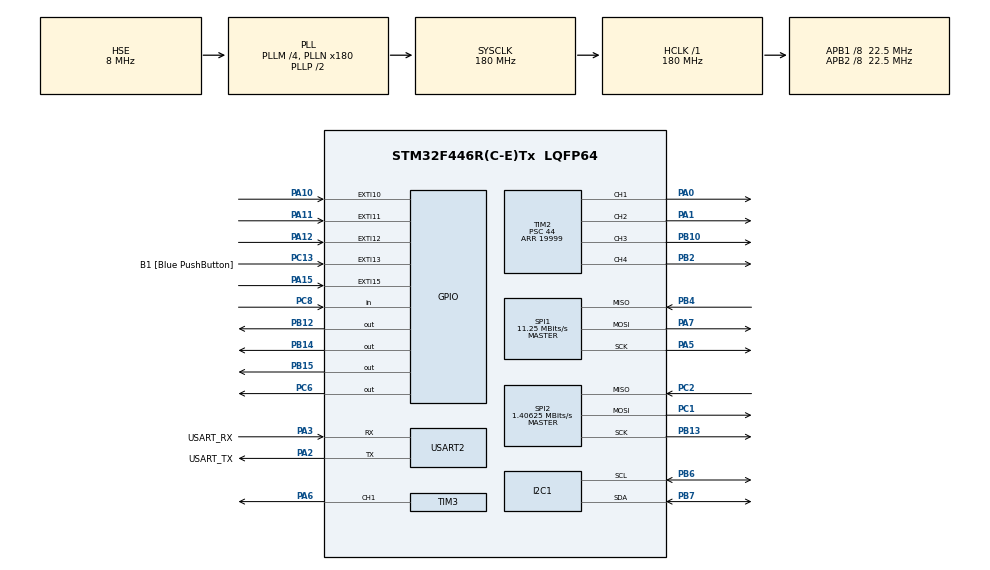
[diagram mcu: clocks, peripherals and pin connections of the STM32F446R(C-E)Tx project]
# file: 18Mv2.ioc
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I2C1.I2C_Mode=I2C_Fast
Mcu.Family=STM32F4
Mcu.Name=STM32F446R(C-E)Tx
Mcu.Package=LQFP64
NVIC.EXTI15_10_IRQn=true\:0\:0\:false\:false\:true\:true\:true\:true
NVIC.PriorityGroup=NVIC_PRIORITYGROUP_0
NVIC.SPI1_IRQn=true\:0\:0\:false\:false\:true\:true\:true\:true
NVIC.TIM2_IRQn=true\:0\:0\:false\:false\:true\:true\:true\:true
NVIC.TIM3_IRQn=true\:0\:0\:false\:false\:true\:true\:true\:true
PA0-WKUP.Signal=S_TIM2_CH1_ETR
PA1.Signal=S_TIM2_CH2
PA10.GPIO_ModeDefaultEXTI=GPIO_MODE_IT_FALLING
PA10.Signal=GPXTI10
PA11.GPIO_ModeDefaultEXTI=GPIO_MODE_IT_FALLING
PA11.Signal=GPXTI11
PA12.GPIO_ModeDefaultEXTI=GPIO_MODE_IT_FALLING
PA12.Signal=GPXTI12
PA13.GPIO_Label=TMS
PA13.Mode=Serial_Wire
PA13.Signal=SYS_JTMS-SWDIO
PA14.GPIO_Label=TCK
PA14.Mode=Serial_Wire
PA14.Signal=SYS_JTCK-SWCLK
PA15.GPIO_ModeDefaultEXTI=GPIO_MODE_IT_FALLING
PA15.Signal=GPXTI15
PA2.GPIO_Label=USART_TX
PA2.Mode=Asynchronous
PA2.Signal=USART2_TX
PA3.GPIO_Label=USART_RX
PA3.Mode=Asynchronous
PA3.Signal=USART2_RX
PA5.Mode=Full_Duplex_Master
PA5.Signal=SPI1_SCK
PA6.Signal=S_TIM3_CH1
PA7.Mode=Full_Duplex_Master
PA7.Signal=SPI1_MOSI
PB10.Signal=S_TIM2_CH3
PB12.Signal=GPIO_Output
PB13.Mode=Full_Duplex_Master
PB13.Signal=SPI2_SCK
PB14.Signal=GPIO_Output
PB15.Signal=GPIO_Output
PB2.Signal=S_TIM2_CH4
PB3.GPIO_Label=SWO
PB3.Signal=SYS_JTDO-SWO
PB4.Mode=Full_Duplex_Master
PB4.Signal=SPI1_MISO
PB6.Mode=I2C
PB6.Signal=I2C1_SCL
PB7.Mode=I2C
PB7.Signal=I2C1_SDA
PC1.Mode=Full_Duplex_Master
PC1.Signal=SPI2_MOSI
PC13.GPIO_Label=B1 [Blue PushButton]
PC13.GPIO_ModeDefaultEXTI=GPIO_MODE_IT_FALLING
PC13.Signal=GPXTI13
PC14-OSC32_IN.Mode=LSE-External-Oscillator
PC14-OSC32_IN.Signal=RCC_OSC32_IN
PC15-OSC32_OUT.Mode=LSE-External-Oscillator
PC15-OSC32_OUT.Signal=RCC_OSC32_OUT
PC2.Mode=Full_Duplex_Master
PC2.Signal=SPI2_MISO
PC6.Signal=GPIO_Output
PC8.Signal=GPIO_Input
PH0-OSC_IN.Mode=HSE-External-Oscillator
PH0-OSC_IN.Signal=RCC_OSC_IN
PH1-OSC_OUT.Mode=HSE-External-Oscillator
PH1-OSC_OUT.Signal=RCC_OSC_OUT
ProjectManager.HeapSize=0x200
ProjectManager.StackSize=0x400
ProjectManager.TargetToolchain=STM32CubeIDE
RCC.48MHZClocksFreq_Value=84000000
RCC.AHBFreq_Value=180000000
RCC.APB1CLKDivider=RCC_HCLK_DIV8
RCC.APB1Freq_Value=22500000
RCC.APB1TimFreq_Value=45000000
RCC.APB2CLKDivider=RCC_HCLK_DIV8
RCC.APB2Freq_Value=22500000
RCC.APB2TimFreq_Value=45000000
RCC.CortexFreq_Value=180000000
RCC.FLatency-AdvancedSettings=FLASH_LATENCY_5
RCC.HCLKFreq_Value=180000000
RCC.HSE_VALUE=8000000
RCC.HSI_VALUE=16000000
RCC.PLLM=4
RCC.PLLN=180
RCC.PLLSourceVirtual=RCC_PLLSOURCE_HSE
RCC.SYSCLKFreq_VALUE=180000000
RCC.SYSCLKSource=RCC_SYSCLKSOURCE_PLLCLK
RCC.USBFreq_Value=180000000
RCC.VCOOutputFreq_Value=360000000
SH.S_TIM2_CH1_ETR.0=TIM2_CH1,PWM Generation1 CH1
SH.S_TIM2_CH2.0=TIM2_CH2,PWM Generation2 CH2
SH.S_TIM2_CH3.0=TIM2_CH3,PWM Generation3 CH3
SH.S_TIM2_CH4.0=TIM2_CH4,PWM Generation4 CH4
SH.S_TIM3_CH1.0=TIM3_CH1,PWM Generation1 CH1
SPI1.BaudRatePrescaler=SPI_BAUDRATEPRESCALER_2
SPI1.CalculateBaudRate=11.25 MBits/s
SPI1.Direction=SPI_DIRECTION_2LINES
SPI1.Mode=SPI_MODE_MASTER
SPI1.VirtualType=VM_MASTER
SPI2.BaudRatePrescaler=SPI_BAUDRATEPRESCALER_16
SPI2.CalculateBaudRate=1.40625 MBits/s
SPI2.Direction=SPI_DIRECTION_2LINES
SPI2.Mode=SPI_MODE_MASTER
SPI2.VirtualType=VM_MASTER
TIM2.Channel-PWM\ Generation1\ CH1=TIM_CHANNEL_1
TIM2.Channel-PWM\ Generation2\ CH2=TIM_CHANNEL_2
TIM2.Channel-PWM\ Generation3\ CH3=TIM_CHANNEL_3
TIM2.Channel-PWM\ Generation4\ CH4=TIM_CHANNEL_4
TIM2.Period=19999
TIM2.Prescaler=44
TIM3.Channel-PWM\ Generation1\ CH1=TIM_CHANNEL_1
TIM3.Period=19999
TIM3.Prescaler=44
USART2.VirtualMode=VM_ASYNC
VP_TIM2_VS_ClockSourceINT.Mode=Internal
VP_TIM3_VS_ClockSourceINT.Mode=Internal
board=NUCLEO-F446RE

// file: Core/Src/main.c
/* USER CODE BEGIN Header */
/**
  ******************************************************************************
  * @file           : main.c
  * @brief          : Main program body
  ******************************************************************************
  * @attention
  *
  * Copyright (c) 2026 STMicroelectronics.
  * All rights reserved.
  *
  * This software is licensed under terms that can be found in the LICENSE file
  * in the root directory of this software component.
  * If no LICENSE file comes with this software, it is provided AS-IS.
  *
  ******************************************************************************
  */

  /*
   * PIN ASSIGNMENTS:
   *
   * I2C for RFID Scanner:
   * VCC - 5V
   * GND - Breadboard ground
   * SCL - PB6
   * SDA - PB7
   *
   * SPI for LCD Display:
   * VCC      - 3.3V
   * GND      - Breadboard ground
   * CS       - PB15
   * RESET    - PB14
   * DATA/CMD - PB12
   * SDI/MOSI - PA7
   * SCK      - PA5
   * LED      - 3.3V
   * SDO/MISO - NC
   *
   * OUT OF DATE:
   * *****************
   * T_CLK    - PA5
   * T_CS     - PC6 this one is fine
   * T_DIN    - PA7
   * T_DO     - PB4
   * T_IRQ    - PC8 this one is fine
   * *****************
   *
   * Servos:
   * VCC  - 5V
   * GND  - Breaboard Ground
   * PWM1 - PA0
   * PWM2 - PA1
   * PWM3 - PB10
   * PWM4 - PB2
   * PWM5 - PA6
   *
   * IR Sensors:
   * VCC  - 3.3V
   * GND  - Breadboard Ground
   * IQR1 - PA10
   * IQR1 - PA11
   * IQR1 - PA12
   * IQR1 - PA15
   *
   */
/* USER CODE END Header */
#include "main.h"

/* USER CODE BEGIN Includes */
#include "servo.h"
#include "flash.h"
#include "irsensor.h"
#include <string.h>
#include "stm32f4xx_hal.h"
#include "claude_lcd.h"
#include "claude_touch.h"
#include "rfid.h"
/* USER CODE END Includes */

I2C_HandleTypeDef hi2c1;

SPI_HandleTypeDef hspi1;
SPI_HandleTypeDef hspi2;

TIM_HandleTypeDef htim2;
TIM_HandleTypeDef htim3;

UART_HandleTypeDef huart2;

/* USER CODE BEGIN PV */

servo_t pennyServo;
servo_t nickelServo;
servo_t dimeServo;
servo_t quarterServo;
servo_t slotServo;

pn532_t nfc;
pn532_tag_info_t tag;

enum {SPLASH, USE, THANKYOU} state;

uint32_t currentUser;
uint32_t currentMoney;

char buf[32];

TouchPoint tp;

volatile uint8_t penny_detected = 0;
volatile uint8_t nickel_detected = 0;
volatile uint8_t dime_detected = 0;
volatile uint8_t quarter_detected = 0;

/* USER CODE END PV */

void SystemClock_Config(void);
static void MX_GPIO_Init(void);
static void MX_USART2_UART_Init(void);
static void MX_TIM2_Init(void);
static void MX_TIM3_Init(void);
static void MX_I2C1_Init(void);
static void MX_SPI1_Init(void);
static void MX_SPI2_Init(void);

/* USER CODE BEGIN 0 */

void HAL_GPIO_EXTI_Callback(uint16_t GPIO_Pin)
{
  if(GPIO_Pin == GPIO_PIN_12)
  {
    penny_detected = 1;
  }
  else if(GPIO_Pin == GPIO_PIN_10)
  {
    nickel_detected = 1;
  }
  else if(GPIO_Pin == GPIO_PIN_15)
  {
    dime_detected = 1;
  }
  else if(GPIO_Pin == GPIO_PIN_11)
  {
    quarter_detected = 1;
  }
}

void Splash_Screen(void)
{
  ST7796S_FillScreen(WHITE);

  ST7796S_DrawString(30, 40, "Welcome to 18M!", &Font24, BLACK, WHITE);

  ST7796S_DrawString(20, 100, "Please scan your", &Font24, BLACK, WHITE);
  ST7796S_DrawString(20, 122, "andrewID card to", &Font24, BLACK, WHITE);
  ST7796S_DrawString(30, 144, "     begin", &Font24, BLACK, WHITE);
  //HAL_UART_Transmit(&huart2, (uint8_t *)buf, strlen((char *)buf), HAL_MAX_DELAY);
  while (1) {
    if (pn532_read_passive_target(&nfc, &tag, 500) == PN532_OK) {

  	  break;
    }
  }

  currentUser = tag.uid[0];
  currentUser = currentUser<<8;
  currentUser = currentUser|tag.uid[1];
  currentUser = currentUser<<8;
  currentUser = currentUser|tag.uid[2];
  currentUser = currentUser<<8;
  currentUser = currentUser|tag.uid[3];

  sprintf(buf, "%x\r\n", get_money_in_account(currentUser));
  HAL_UART_Transmit(&huart2, (uint8_t *)buf, strlen((char *)buf), HAL_MAX_DELAY);

  if(get_money_in_account(currentUser) == 0xFFFFFFFF) {
	strcpy((char *)buf, "New user");
	HAL_UART_Transmit(&huart2, (uint8_t *)buf, strlen((char *)buf), HAL_MAX_DELAY);

	add_account(currentUser);
  }

  HAL_Delay(50);

  currentMoney = get_money_in_account(currentUser);

  const uint16_t LBLUE = RGB565(0xDF, 0xDF, 0xFF);

  ST7796S_FillScreen(LBLUE);
  ST7796S_DrawString(90, 20, "Welcome!", &Font24, BLACK, LBLUE);
  if(currentMoney%100 < 10) sprintf(buf, "$%d.0%d", currentMoney/100, currentMoney%100);
  else sprintf(buf, "$%d.%d", currentMoney/100, currentMoney%100);
  ST7796S_DrawString(110, 48, buf, &Font24, BLUE, LBLUE);
  ST7796S_DrawString(0, 76, "To deposit, slide\ncoins through the\nslot.\nTo withdraw, press\na button below.", &Font24, BLACK, LBLUE);

  ST7796S_FillRect(20, 228, 130, 50, BLUE);
  ST7796S_DrawString(40, 241, "Penny", &Font24, BLACK, BLUE);
  ST7796S_FillRect(170, 228, 130, 50, BLUE);
  ST7796S_DrawString(180, 241, "Nickel", &Font24, BLACK, BLUE);
  ST7796S_FillRect(20, 298, 130, 50, BLUE);
  ST7796S_DrawString(50, 311, "Dime", &Font24, BLACK, BLUE);
  ST7796S_FillRect(170, 298, 130, 50, BLUE);
  ST7796S_DrawString(175, 311, "Quarter", &Font24, BLACK, BLUE);

  ST7796S_FillRect(20, 410, 130, 50, BLUE);
  ST7796S_DrawString(30, 423, "< Exit", &Font24, BLACK, BLUE);

  state = USE;
}

void Use_Screen()
{
  const uint16_t LBLUE = RGB565(0xDF, 0xDF, 0xFF);

  if(penny_detected)
  {
	currentMoney++;
	if(currentMoney%100 < 10) sprintf(buf, "$%d.0%d", currentMoney/100, currentMoney%100);
	else sprintf(buf, "$%d.%d", currentMoney/100, currentMoney%100);
	ST7796S_DrawString(110, 48, buf, &Font24, BLUE, LBLUE);
	HAL_Delay(200);
    penny_detected = 0;
  }
  if(nickel_detected)
  {
	currentMoney+=5;
	if(currentMoney%100 < 10) sprintf(buf, "$%d.0%d", currentMoney/100, currentMoney%100);
	else sprintf(buf, "$%d.%d", currentMoney/100, currentMoney%100);
	ST7796S_DrawString(110, 48, buf, &Font24, BLUE, LBLUE);
	HAL_Delay(200);
    nickel_detected = 0;
  }
  if(dime_detected)
  {
	currentMoney+=10;
	if(currentMoney%100 < 10) sprintf(buf, "$%d.0%d", currentMoney/100, currentMoney%100);
	else sprintf(buf, "$%d.%d", currentMoney/100, currentMoney%100);
	ST7796S_DrawString(110, 48, buf, &Font24, BLUE, LBLUE);
	HAL_Delay(200);
    dime_detected = 0;
  }
  if(quarter_detected)
  {
	currentMoney+=25;
	if(currentMoney%100 < 10) sprintf(buf, "$%d.0%d", currentMoney/100, currentMoney%100);
	else sprintf(buf, "$%d.%d", currentMoney/100, currentMoney%100);
	ST7796S_DrawString(110, 48, buf, &Font24, BLUE, LBLUE);
	HAL_Delay(200);
    quarter_detected = 0;
  }

  tp = XPT2046_GetTouchAvg();

  if(tp.touched) {
	uint16_t screen_x, screen_y;
	XPT2046_GetScreenCoordinates(&tp, &screen_x, &screen_y);

	// Draw a small circle where touched
	ST7796S_FillRect(screen_x - 2, screen_y - 2, 5, 5, BLACK);

	// Display coordinates
//	sprintf(buf, "X:%d Y:%d\r\n", screen_x, screen_y);
//	HAL_UART_Transmit(&huart2, (uint8_t *)buf, strlen((char *)buf), HAL_MAX_DELAY);

	// penny button
	if(20 <= screen_x && screen_x <= 150 && 228 <= screen_y && screen_y <= 278)
	{
	  if(currentMoney >= 1)
	  {
		currentMoney -= 1;
		if(currentMoney%100 < 10) sprintf(buf, "$%d.0%d", currentMoney/100, currentMoney%100);
		else sprintf(buf, "$%d.%d", currentMoney/100, currentMoney%100);
		ST7796S_DrawString(110, 48, buf, &Font24, BLUE, LBLUE);
		servo_angle(pennyServo, 35);
		HAL_Delay(500);
		servo_angle(pennyServo, 170);
	  }
	}
	// nickel button
	if(170 <= screen_x && screen_x <= 300 && 228 <= screen_y && screen_y <= 278)
	{
	  if(currentMoney >= 5)
	  {
		currentMoney -= 5;
		if(currentMoney%100 < 10) sprintf(buf, "$%d.0%d", currentMoney/100, currentMoney%100);
		else sprintf(buf, "$%d.%d", currentMoney/100, currentMoney%100);
		ST7796S_DrawString(110, 48, buf, &Font24, BLUE, LBLUE);
		servo_angle(nickelServo, 35);
		HAL_Delay(500);
		servo_angle(nickelServo, 170);
	  }
	}
	// dime button
	if(20 <= screen_x && screen_x <= 150 && 298 <= screen_y && screen_y <= 368)
	{
	  if(currentMoney >= 10)
	  {
		currentMoney -= 10;
		if(currentMoney%100 < 10) sprintf(buf, "$%d.0%d", currentMoney/100, currentMoney%100);
		else sprintf(buf, "$%d.%d", currentMoney/100, currentMoney%100);
		ST7796S_DrawString(110, 48, buf, &Font24, BLUE, LBLUE);
		servo_angle(dimeServo, 35);
		HAL_Delay(500);
		servo_angle(dimeServo, 170);
	  }
	}
	// quarter button
	if(170 <= screen_x && screen_x <= 300 && 298 <= screen_y && screen_y <= 368)
	{
	  if(currentMoney >= 25)
	  {
        currentMoney -= 25;
        if(currentMoney%100 < 10) sprintf(buf, "$%d.0%d", currentMoney/100, currentMoney%100);
    	else sprintf(buf, "$%d.%d", currentMoney/100, currentMoney%100);
    	ST7796S_DrawString(110, 48, buf, &Font24, BLUE, LBLUE);
		servo_angle(quarterServo, 30);
		HAL_Delay(500);
		servo_angle(quarterServo, 170);
	  }
	}

	// exit button
	if(20 <= screen_x && screen_x <= 150 && 410 <= screen_y && screen_y <= 460)
	{
	  set_money_in_account(currentUser, currentMoney);
	  state = THANKYOU;
	}
  }

  HAL_Delay(50);
}

void Thankyou_Screen(void)
{
  ST7796S_FillScreen(WHITE);
  ST7796S_DrawString(40, 150, "Thank you for\n using 18M!", &Font24, BLACK, WHITE);

  HAL_Delay(3000);
  state = SPLASH;
}

/* USER CODE END 0 */

int main(void)
{

  /* MCU Configuration--------------------------------------------------------*/

  /* Reset of all peripherals, Initializes the Flash interface and the Systick. */
  HAL_Init();

  /* Configure the system clock */
  SystemClock_Config();

  /* Initialize all configured peripherals */
  MX_GPIO_Init();
  MX_USART2_UART_Init();
  MX_TIM2_Init();
  MX_TIM3_Init();
  MX_I2C1_Init();
  MX_SPI1_Init();
  MX_SPI2_Init();
  /* USER CODE BEGIN 2 */

/*********************************************
 ********* SERVO INITIALIZATION **************
 *********************************************/

  HAL_TIM_PWM_Start(&htim2, TIM_CHANNEL_1);
  HAL_TIM_PWM_Start(&htim2, TIM_CHANNEL_2);
  HAL_TIM_PWM_Start(&htim2, TIM_CHANNEL_3);
  HAL_TIM_PWM_Start(&htim2, TIM_CHANNEL_4);

  pennyServo   = servo_new(&(htim2.Instance->CCR3));
  nickelServo  = servo_new(&(htim2.Instance->CCR4));
  dimeServo    = servo_new(&(htim2.Instance->CCR2));
  quarterServo = servo_new(&(htim2.Instance->CCR1));

/*********************************************
 ********** FLASH INITIALIZATION *************
 *********************************************/

  initialize_accounts();

/*********************************************
 ********* LCD+TOUCH INITIALIZATION **********
 *********************************************/

  ST7796S_SetSPI(&hspi1);
  XPT2046_SetSPI(&hspi2);
  XPT2046_SetUART(&huart2);

  ST7796S_Init();
  XPT2046_Init();

/*********************************************
 *********** RFID INITIALIZATION *************
 *********************************************/

  pn532_SetUART(&huart2);

/*********************************************
 *********** STATE INITIALIZATION ************
 *********************************************/

  state = SPLASH;

  servo_angle(pennyServo, 170);
  servo_angle(nickelServo, 170);
  servo_angle(dimeServo, 170);
  servo_angle(quarterServo, 170);

  if (pn532_init(&nfc, &hi2c1) != PN532_OK) {
	ST7796S_FillScreen(WHITE);
    ST7796S_DrawString(10, 100, "Error RFID init", &Font24, BLACK, WHITE);
    ST7796S_DrawString(20, 124, "please reflash", &Font24, BLACK, WHITE);
    while(1);
  }

  /* USER CODE END 2 */

  /* Infinite loop */
  /* USER CODE BEGIN WHILE */
  while (1)
  {
    switch (state)
    {
      case SPLASH:
    	Splash_Screen();
      break;
      case USE:
        Use_Screen();
      break;
      case THANKYOU:
        Thankyou_Screen();
      break;
    }
    /* USER CODE END WHILE */

  }
}

void SystemClock_Config(void)
{
  RCC_OscInitTypeDef RCC_OscInitStruct = {0};
  RCC_ClkInitTypeDef RCC_ClkInitStruct = {0};

  /** Configure the main internal regulator output voltage
  */
  __HAL_RCC_PWR_CLK_ENABLE();
  __HAL_PWR_VOLTAGESCALING_CONFIG(PWR_REGULATOR_VOLTAGE_SCALE1);

  /** Initializes the RCC Oscillators according to the specified parameters
  * in the RCC_OscInitTypeDef structure.
  */
  RCC_OscInitStruct.OscillatorType = RCC_OSCILLATORTYPE_HSE;
  RCC_OscInitStruct.HSEState = RCC_HSE_ON;
  RCC_OscInitStruct.PLL.PLLState = RCC_PLL_ON;
  RCC_OscInitStruct.PLL.PLLSource = RCC_PLLSOURCE_HSE;
  RCC_OscInitStruct.PLL.PLLM = 4;
  RCC_OscInitStruct.PLL.PLLN = 180;
  RCC_OscInitStruct.PLL.PLLP = RCC_PLLP_DIV2;
  RCC_OscInitStruct.PLL.PLLQ = 2;
  RCC_OscInitStruct.PLL.PLLR = 2;
  if (HAL_RCC_OscConfig(&RCC_OscInitStruct) != HAL_OK)
  {
    Error_Handler();
  }

  /** Activate the Over-Drive mode
  */
  if (HAL_PWREx_EnableOverDrive() != HAL_OK)
  {
    Error_Handler();
  }

  /** Initializes the CPU, AHB and APB buses clocks
  */
  RCC_ClkInitStruct.ClockType = RCC_CLOCKTYPE_HCLK|RCC_CLOCKTYPE_SYSCLK
                              |RCC_CLOCKTYPE_PCLK1|RCC_CLOCKTYPE_PCLK2;
  RCC_ClkInitStruct.SYSCLKSource = RCC_SYSCLKSOURCE_PLLCLK;
  RCC_ClkInitStruct.AHBCLKDivider = RCC_SYSCLK_DIV1;
  RCC_ClkInitStruct.APB1CLKDivider = RCC_HCLK_DIV8;
  RCC_ClkInitStruct.APB2CLKDivider = RCC_HCLK_DIV8;

  if (HAL_RCC_ClockConfig(&RCC_ClkInitStruct, FLASH_LATENCY_5) != HAL_OK)
  {
    Error_Handler();
  }
}

static void MX_I2C1_Init(void)
{

  hi2c1.Instance = I2C1;
  hi2c1.Init.ClockSpeed = 400000;
  hi2c1.Init.DutyCycle = I2C_DUTYCYCLE_2;
  hi2c1.Init.OwnAddress1 = 0;
  hi2c1.Init.AddressingMode = I2C_ADDRESSINGMODE_7BIT;
  hi2c1.Init.DualAddressMode = I2C_DUALADDRESS_DISABLE;
  hi2c1.Init.OwnAddress2 = 0;
  hi2c1.Init.GeneralCallMode = I2C_GENERALCALL_DISABLE;
  hi2c1.Init.NoStretchMode = I2C_NOSTRETCH_DISABLE;
  if (HAL_I2C_Init(&hi2c1) != HAL_OK)
  {
    Error_Handler();
  }

}

static void MX_SPI1_Init(void)
{

  /* SPI1 parameter configuration*/
  hspi1.Instance = SPI1;
  hspi1.Init.Mode = SPI_MODE_MASTER;
  hspi1.Init.Direction = SPI_DIRECTION_2LINES;
  hspi1.Init.DataSize = SPI_DATASIZE_8BIT;
  hspi1.Init.CLKPolarity = SPI_POLARITY_LOW;
  hspi1.Init.CLKPhase = SPI_PHASE_1EDGE;
  hspi1.Init.NSS = SPI_NSS_SOFT;
  hspi1.Init.BaudRatePrescaler = SPI_BAUDRATEPRESCALER_2;
  hspi1.Init.FirstBit = SPI_FIRSTBIT_MSB;
  hspi1.Init.TIMode = SPI_TIMODE_DISABLE;
  hspi1.Init.CRCCalculation = SPI_CRCCALCULATION_DISABLE;
  hspi1.Init.CRCPolynomial = 10;
  if (HAL_SPI_Init(&hspi1) != HAL_OK)
  {
    Error_Handler();
  }

}

static void MX_SPI2_Init(void)
{

  /* SPI2 parameter configuration*/
  hspi2.Instance = SPI2;
  hspi2.Init.Mode = SPI_MODE_MASTER;
  hspi2.Init.Direction = SPI_DIRECTION_2LINES;
  hspi2.Init.DataSize = SPI_DATASIZE_8BIT;
  hspi2.Init.CLKPolarity = SPI_POLARITY_LOW;
  hspi2.Init.CLKPhase = SPI_PHASE_1EDGE;
  hspi2.Init.NSS = SPI_NSS_SOFT;
  hspi2.Init.BaudRatePrescaler = SPI_BAUDRATEPRESCALER_16;
  hspi2.Init.FirstBit = SPI_FIRSTBIT_MSB;
  hspi2.Init.TIMode = SPI_TIMODE_DISABLE;
  hspi2.Init.CRCCalculation = SPI_CRCCALCULATION_DISABLE;
  hspi2.Init.CRCPolynomial = 10;
  if (HAL_SPI_Init(&hspi2) != HAL_OK)
  {
    Error_Handler();
  }

}

static void MX_TIM2_Init(void)
{

  TIM_ClockConfigTypeDef sClockSourceConfig = {0};
  TIM_MasterConfigTypeDef sMasterConfig = {0};
  TIM_OC_InitTypeDef sConfigOC = {0};

  htim2.Instance = TIM2;
  htim2.Init.Prescaler = 44;
  htim2.Init.CounterMode = TIM_COUNTERMODE_UP;
  htim2.Init.Period = 19999;
  htim2.Init.ClockDivision = TIM_CLOCKDIVISION_DIV1;
  htim2.Init.AutoReloadPreload = TIM_AUTORELOAD_PRELOAD_DISABLE;
  if (HAL_TIM_Base_Init(&htim2) != HAL_OK)
  {
    Error_Handler();
  }
  sClockSourceConfig.ClockSource = TIM_CLOCKSOURCE_INTERNAL;
  if (HAL_TIM_ConfigClockSource(&htim2, &sClockSourceConfig) != HAL_OK)
  {
    Error_Handler();
  }
  if (HAL_TIM_PWM_Init(&htim2) != HAL_OK)
  {
    Error_Handler();
  }
  sMasterConfig.MasterOutputTrigger = TIM_TRGO_RESET;
  sMasterConfig.MasterSlaveMode = TIM_MASTERSLAVEMODE_DISABLE;
  if (HAL_TIMEx_MasterConfigSynchronization(&htim2, &sMasterConfig) != HAL_OK)
  {
    Error_Handler();
  }
  sConfigOC.OCMode = TIM_OCMODE_PWM1;
  sConfigOC.Pulse = 0;
  sConfigOC.OCPolarity = TIM_OCPOLARITY_HIGH;
  sConfigOC.OCFastMode = TIM_OCFAST_DISABLE;
  if (HAL_TIM_PWM_ConfigChannel(&htim2, &sConfigOC, TIM_CHANNEL_1) != HAL_OK)
  {
    Error_Handler();
  }
  if (HAL_TIM_PWM_ConfigChannel(&htim2, &sConfigOC, TIM_CHANNEL_2) != HAL_OK)
  {
    Error_Handler();
  }
  if (HAL_TIM_PWM_ConfigChannel(&htim2, &sConfigOC, TIM_CHANNEL_3) != HAL_OK)
  {
    Error_Handler();
  }
  if (HAL_TIM_PWM_ConfigChannel(&htim2, &sConfigOC, TIM_CHANNEL_4) != HAL_OK)
  {
    Error_Handler();
  }
  HAL_TIM_MspPostInit(&htim2);

}

static void MX_TIM3_Init(void)
{

  TIM_ClockConfigTypeDef sClockSourceConfig = {0};
  TIM_MasterConfigTypeDef sMasterConfig = {0};
  TIM_OC_InitTypeDef sConfigOC = {0};

  htim3.Instance = TIM3;
  htim3.Init.Prescaler = 44;
  htim3.Init.CounterMode = TIM_COUNTERMODE_UP;
  htim3.Init.Period = 19999;
  htim3.Init.ClockDivision = TIM_CLOCKDIVISION_DIV1;
  htim3.Init.AutoReloadPreload = TIM_AUTORELOAD_PRELOAD_DISABLE;
  if (HAL_TIM_Base_Init(&htim3) != HAL_OK)
  {
    Error_Handler();
  }
  sClockSourceConfig.ClockSource = TIM_CLOCKSOURCE_INTERNAL;
  if (HAL_TIM_ConfigClockSource(&htim3, &sClockSourceConfig) != HAL_OK)
  {
    Error_Handler();
  }
  if (HAL_TIM_PWM_Init(&htim3) != HAL_OK)
  {
    Error_Handler();
  }
  sMasterConfig.MasterOutputTrigger = TIM_TRGO_RESET;
  sMasterConfig.MasterSlaveMode = TIM_MASTERSLAVEMODE_DISABLE;
  if (HAL_TIMEx_MasterConfigSynchronization(&htim3, &sMasterConfig) != HAL_OK)
  {
    Error_Handler();
  }
  sConfigOC.OCMode = TIM_OCMODE_PWM1;
  sConfigOC.Pulse = 0;
  sConfigOC.OCPolarity = TIM_OCPOLARITY_HIGH;
  sConfigOC.OCFastMode = TIM_OCFAST_DISABLE;
  if (HAL_TIM_PWM_ConfigChannel(&htim3, &sConfigOC, TIM_CHANNEL_1) != HAL_OK)
  {
    Error_Handler();
  }
  HAL_TIM_MspPostInit(&htim3);

}

static void MX_USART2_UART_Init(void)
{

  huart2.Instance = USART2;
  huart2.Init.BaudRate = 115200;
  huart2.Init.WordLength = UART_WORDLENGTH_8B;
  huart2.Init.StopBits = UART_STOPBITS_1;
  huart2.Init.Parity = UART_PARITY_NONE;
  huart2.Init.Mode = UART_MODE_TX_RX;
  huart2.Init.HwFlowCtl = UART_HWCONTROL_NONE;
  huart2.Init.OverSampling = UART_OVERSAMPLING_16;
  if (HAL_UART_Init(&huart2) != HAL_OK)
  {
    Error_Handler();
  }

}

static void MX_GPIO_Init(void)
{
  GPIO_InitTypeDef GPIO_InitStruct = {0};

  /* GPIO Ports Clock Enable */
  __HAL_RCC_GPIOC_CLK_ENABLE();
  __HAL_RCC_GPIOH_CLK_ENABLE();
  __HAL_RCC_GPIOA_CLK_ENABLE();
  __HAL_RCC_GPIOB_CLK_ENABLE();

  /*Configure GPIO pin Output Level */
  HAL_GPIO_WritePin(GPIOB, GPIO_PIN_12|GPIO_PIN_14|GPIO_PIN_15, GPIO_PIN_RESET);

  /*Configure GPIO pin Output Level */
  HAL_GPIO_WritePin(GPIOC, GPIO_PIN_6, GPIO_PIN_RESET);

  /*Configure GPIO pin : B1_Pin */
  GPIO_InitStruct.Pin = B1_Pin;
  GPIO_InitStruct.Mode = GPIO_MODE_IT_FALLING;
  GPIO_InitStruct.Pull = GPIO_NOPULL;
  HAL_GPIO_Init(B1_GPIO_Port, &GPIO_InitStruct);

  /*Configure GPIO pins : PB12 PB14 PB15 */
  GPIO_InitStruct.Pin = GPIO_PIN_12|GPIO_PIN_14|GPIO_PIN_15;
  GPIO_InitStruct.Mode = GPIO_MODE_OUTPUT_PP;
  GPIO_InitStruct.Pull = GPIO_NOPULL;
  GPIO_InitStruct.Speed = GPIO_SPEED_FREQ_LOW;
  HAL_GPIO_Init(GPIOB, &GPIO_InitStruct);

  /*Configure GPIO pin : PC6 */
  GPIO_InitStruct.Pin = GPIO_PIN_6;
  GPIO_InitStruct.Mode = GPIO_MODE_OUTPUT_PP;
  GPIO_InitStruct.Pull = GPIO_NOPULL;
  GPIO_InitStruct.Speed = GPIO_SPEED_FREQ_LOW;
  HAL_GPIO_Init(GPIOC, &GPIO_InitStruct);

  /*Configure GPIO pin : PC8 */
  GPIO_InitStruct.Pin = GPIO_PIN_8;
  GPIO_InitStruct.Mode = GPIO_MODE_INPUT;
  GPIO_InitStruct.Pull = GPIO_NOPULL;
  HAL_GPIO_Init(GPIOC, &GPIO_InitStruct);

  /*Configure GPIO pins : PA10 PA11 PA12 PA15 */
  GPIO_InitStruct.Pin = GPIO_PIN_10|GPIO_PIN_11|GPIO_PIN_12|GPIO_PIN_15;
  GPIO_InitStruct.Mode = GPIO_MODE_IT_FALLING;
  GPIO_InitStruct.Pull = GPIO_NOPULL;
  HAL_GPIO_Init(GPIOA, &GPIO_InitStruct);

  /* EXTI interrupt init*/
  HAL_NVIC_SetPriority(EXTI15_10_IRQn, 0, 0);
  HAL_NVIC_EnableIRQ(EXTI15_10_IRQn);

}

void Error_Handler(void)
{
  __disable_irq();
  while (1)
  {
  }
}
